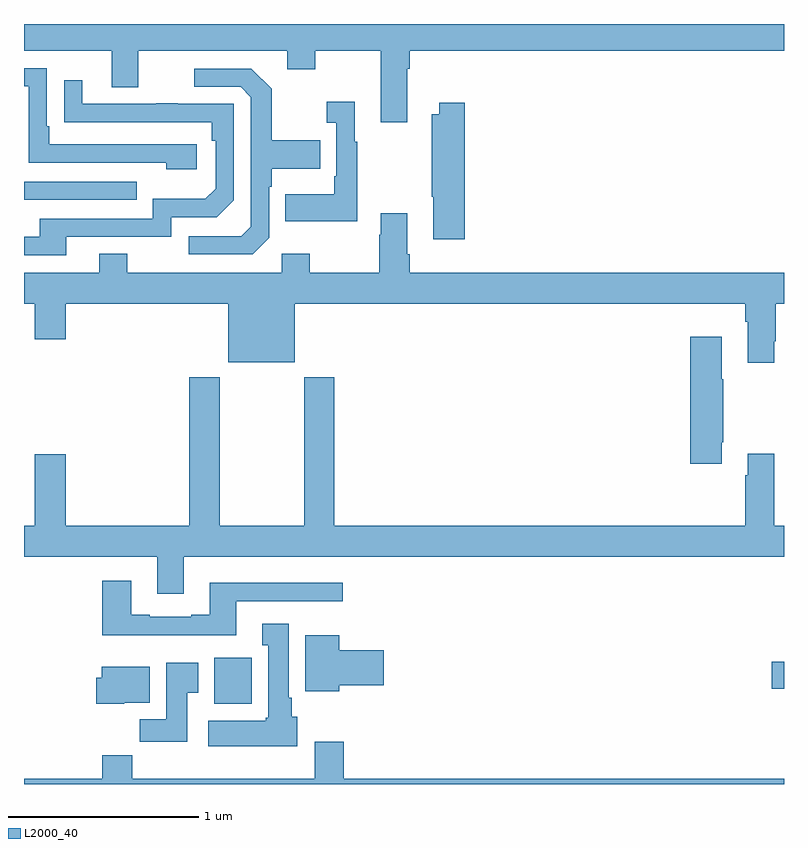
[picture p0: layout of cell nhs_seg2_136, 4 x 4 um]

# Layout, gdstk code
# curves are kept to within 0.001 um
import gdstk
lib = gdstk.Library(unit=1e-6, precision=1e-09)
def R(c, l, rs):  # rectangles x0, y0, x1, y1
    for r in rs: c.add(gdstk.rectangle(r[:2], r[2:], *l))
def P(c, l, *ps):  # polygons
    for p in ps: c.add(gdstk.Polygon(p, *l))
L2000_40 = (2000, 40)

nhs_seg2_136 = lib.new_cell('nhs_seg2_136')
R(nhs_seg2_136, L2000_40, [(118.001,620.222,118.198,620.464), (120.936,620.302,121,620.444), (117,622.875,117.593,622.971)])
P(nhs_seg2_136, L2000_40, [(119.017,623.564),(119.03,623.564),(119.03,623.66),(121,623.66),(121,623.8),(117,623.8),(117,623.66),(117.461,623.66),(117.461,623.466),(117.601,623.466),(117.601,623.66),(118.385,623.66),(118.385,623.561),(118.533,623.561),(118.533,623.66),(118.877,623.66),(118.877,623.283),(119.017,623.283)],
  [(117.91,623.166),(117.133,623.166),(117.133,623.263),(117.12,623.263),(117.12,623.568),(117,623.568),(117,623.472),(117.024,623.472),(117.024,623.07),(117.749,623.07),(117.749,623.036),(117.91,623.036)],
  [(118.29,622.674),(118.29,622.943),(118.303,622.943),(118.303,623.039),(118.559,623.039),(118.559,623.187),(118.303,623.187),(118.303,623.459),(118.197,623.565),(117.897,623.565),(117.897,623.469),(118.14,623.469),(118.194,623.415),(118.194,622.734),(118.143,622.683),(117.867,622.683),(117.867,622.587),(118.203,622.587)],
  [(117.223,622.68),(117.774,622.68),(117.774,622.782),(118.014,622.782),(118.104,622.872),(118.104,623.379),(117.809,623.379),(117.809,623.384),(117.697,623.384),(117.697,623.379),(117.307,623.379),(117.307,623.503),(117.211,623.503),(117.211,623.284),(117.988,623.283),(117.988,623.186),(118.008,623.186),(118.008,622.932),(117.955,622.879),(117.678,622.879),(117.678,622.776),(117.083,622.776),(117.083,622.68),(117,622.68),(117,622.584),(117.223,622.584)],
  [(118.753,623.179),(118.741,623.179),(118.741,623.392),(118.593,623.392),(118.593,623.279),(118.644,623.279),(118.644,622.999),(118.632,622.999),(118.632,622.903),(118.375,622.903),(118.375,622.763),(118.753,622.763)],
  [(119.321,623.386),(119.186,623.386),(119.186,623.326),(119.146,623.326),(119.146,622.891),(119.153,622.891),(119.153,622.668),(119.321,622.668)],
  [(120.949,622.129),(120.957,622.129),(120.957,622.328),(121,622.328),(121,622.492),(119.03,622.492),(119.03,622.588),(119.017,622.588),(119.017,622.804),(118.877,622.804),(118.877,622.691),(118.87,622.691),(118.87,622.492),(118.503,622.492),(118.503,622.591),(118.356,622.591),(118.356,622.492),(117.543,622.492),(117.543,622.591),(117.395,622.591),(117.395,622.492),(117,622.492),(117,622.328),(117.056,622.328),(117.056,622.14),(117.22,622.14),(117.22,622.328),(118.076,622.328),(118.076,622.019),(118.426,622.019),(118.426,622.328),(120.797,622.328),(120.797,622.232),(120.809,622.232),(120.809,622.017),(120.949,622.017)],
  [(120.673,621.598),(120.681,621.598),(120.681,621.929),(120.673,621.929),(120.673,622.153),(120.506,622.153),(120.506,621.486),(120.673,621.486)],
  [(117.841,620.996),(121,620.996),(121,621.16),(120.949,621.16),(120.949,621.538),(120.809,621.538),(120.809,621.425),(120.797,621.425),(120.797,621.16),(118.634,621.16),(118.634,621.94),(118.474,621.94),(118.474,621.16),(118.029,621.16),(118.029,621.94),(117.869,621.94),(117.869,621.16),(117.22,621.16),(117.22,621.535),(117.056,621.535),(117.056,621.16),(117,621.16),(117,620.996),(117.701,620.996),(117.701,620.802),(117.841,620.802)],
  [(118.117,620.763),(118.678,620.763),(118.678,620.86),(117.977,620.86),(117.977,620.692),(117.881,620.692),(117.881,620.679),(117.661,620.679),(117.661,620.692),(117.565,620.692),(117.565,620.869),(117.413,620.869),(117.413,620.582),(118.117,620.582)],
  [(118.438,620.154),(118.408,620.154),(118.408,620.254),(118.393,620.254),(118.393,620.644),(118.253,620.644),(118.253,620.531),(118.286,620.531),(118.286,620.148),(118.273,620.148),(118.273,620.134),(117.969,620.134),(117.969,620),(118.438,620)],
  [(118.66,620.321),(118.894,620.321),(118.894,620.504),(118.66,620.504),(118.66,620.584),(118.481,620.584),(118.481,620.288),(118.66,620.288)],
  [(117.859,620.281),(117.916,620.281),(117.916,620.437),(117.749,620.437),(117.749,620.14),(117.61,620.14),(117.61,620.022),(117.859,620.022)],
  [(117.528,620.228),(117.661,620.228),(117.661,620.416),(117.41,620.416),(117.41,620.358),(117.38,620.358),(117.38,620.222),(117.528,620.222)],
  [(121,619.828),(118.682,619.828),(118.682,620.023),(118.529,620.023),(118.529,619.828),(117.569,619.828),(117.569,619.952),(117.413,619.952),(117.413,619.828),(117,619.828),(117,619.8),(121,619.8)])

lib.write_gds('nhs_seg2_136.gds')
